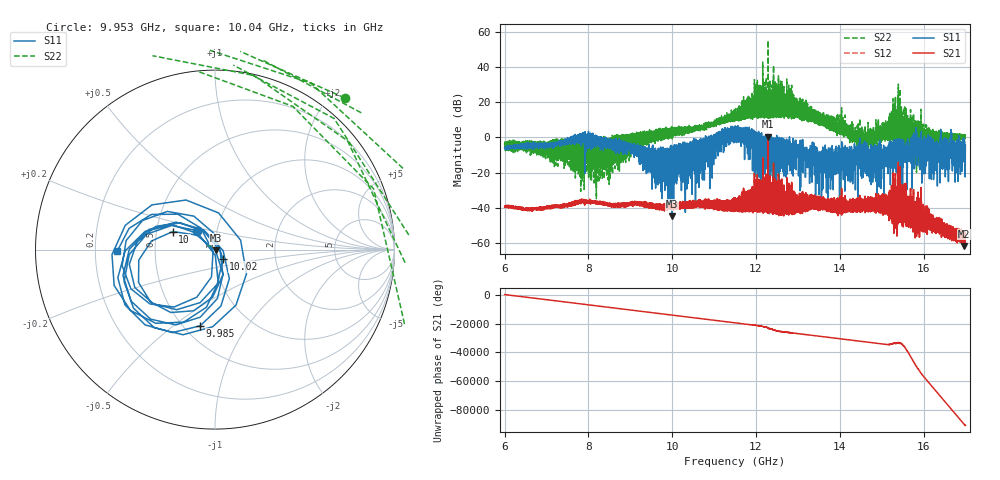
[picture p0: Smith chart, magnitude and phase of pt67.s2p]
#  HZ  S  RI  R  50.00
! Rohde & Schwarz Vector Network Analyzer
! Rohde-Schwarz,ZNA67-2Port,1332450062101215,3.01
! Created: UTC 10/16/2026, 1:41:01 PM
! freq[Hz]  re:S11  im:S11  re:S21  im:S21  re:S12  im:S12  re:S22  im:S22
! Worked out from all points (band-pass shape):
!   11001 points, 6 GHz to 17 GHz, reference 50 ohm
!   highest |S21| = 0.48 dB at 12.29 GHz (marker M1); lowest = -61.6 dB at 16.97 GHz (marker M2)
!   |S21| within 3 dB of the highest: 12.29092 GHz to 12.29108 GHz (159.6 kHz wide, 0.0013 % of centre)
!   lowest |S11| = -44.8 dB at 10 GHz (marker M3), VSWR 1.01, Z = 50.3 - j0.491 ohm
!   |S11| at or under -10 dB: 13.52828 GHz to 13.56821 GHz (39.93 MHz wide, 0.295 % of centre); 13.61248 GHz to 13.64726 GHz (34.78 MHz wide, 0.255 % of centre); 13.93536 GHz to 13.9625 GHz (27.14 MHz wide, 0.195 % of centre) (the widest 3 of 485)
!   |S22| runs from -34.8 to 55.0 dB; largest |S21 - S12| = 0.033
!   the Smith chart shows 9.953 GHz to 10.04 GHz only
!   S11 on the Smith chart (normalised r, x): 9.953 GHz: 0.80, +0.17; 9.985 GHz: 0.60, -0.63; 10 GHz: 0.61, +0.13; 10.02 GHz: 1.09, -0.11; 10.04 GHz: 0.29, -0.01
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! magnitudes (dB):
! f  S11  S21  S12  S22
! 6 GHz  -6.0  -39.4  -39.3  -4.3
! 7.834 GHz  -1.0  -35.5  -35.4  -1.1
! 8.488 GHz  -3.4  -37.8  -37.6  -1.1
! 9.667 GHz  -6.6  -38.5  -38.6  4.3
! 9.953 GHz  -16.8  -39.3  -39.4  0.9
! 9.985 GHz  -7.3  -37.7  -37.8  5.2
! 10 GHz  -44.8  -39.7  -39.9  -0.8
! 10 GHz  -11.8  -40.1  -40.3  1.3
! 10.02 GHz  -23.4  -38.7  -38.7  0.7
! 10.04 GHz  -5.3  -39.9  -40.0  4.8
! 11.5 GHz  6.4  -39.1  -39.0  11.5
! 12.29 GHz  -7.7  0.5  0.6  55.0
! 13.33 GHz  -8.4  -38.8  -38.8  11.0
! 13.54 GHz  -12.8  -37.8  -37.8  10.2
! 14.62 GHz  -9.6  -38.6  -38.5  -1.0
! 14.84 GHz  -4.1  -37.6  -37.5  -0.5
! 15.17 GHz  -12.3  -37.4  -37.2  3.2
! 15.68 GHz  -8.2  -34.6  -34.5  7.1
! 15.8 GHz  -2.7  -44.8  -44.7  1.6
! 16.19 GHz  -9.0  -48.4  -48.3  -0.6
! 16.97 GHz  -3.8  -61.6  -61.7  -0.9
! 17 GHz  -4.3  -56.3  -56.2  1.0
